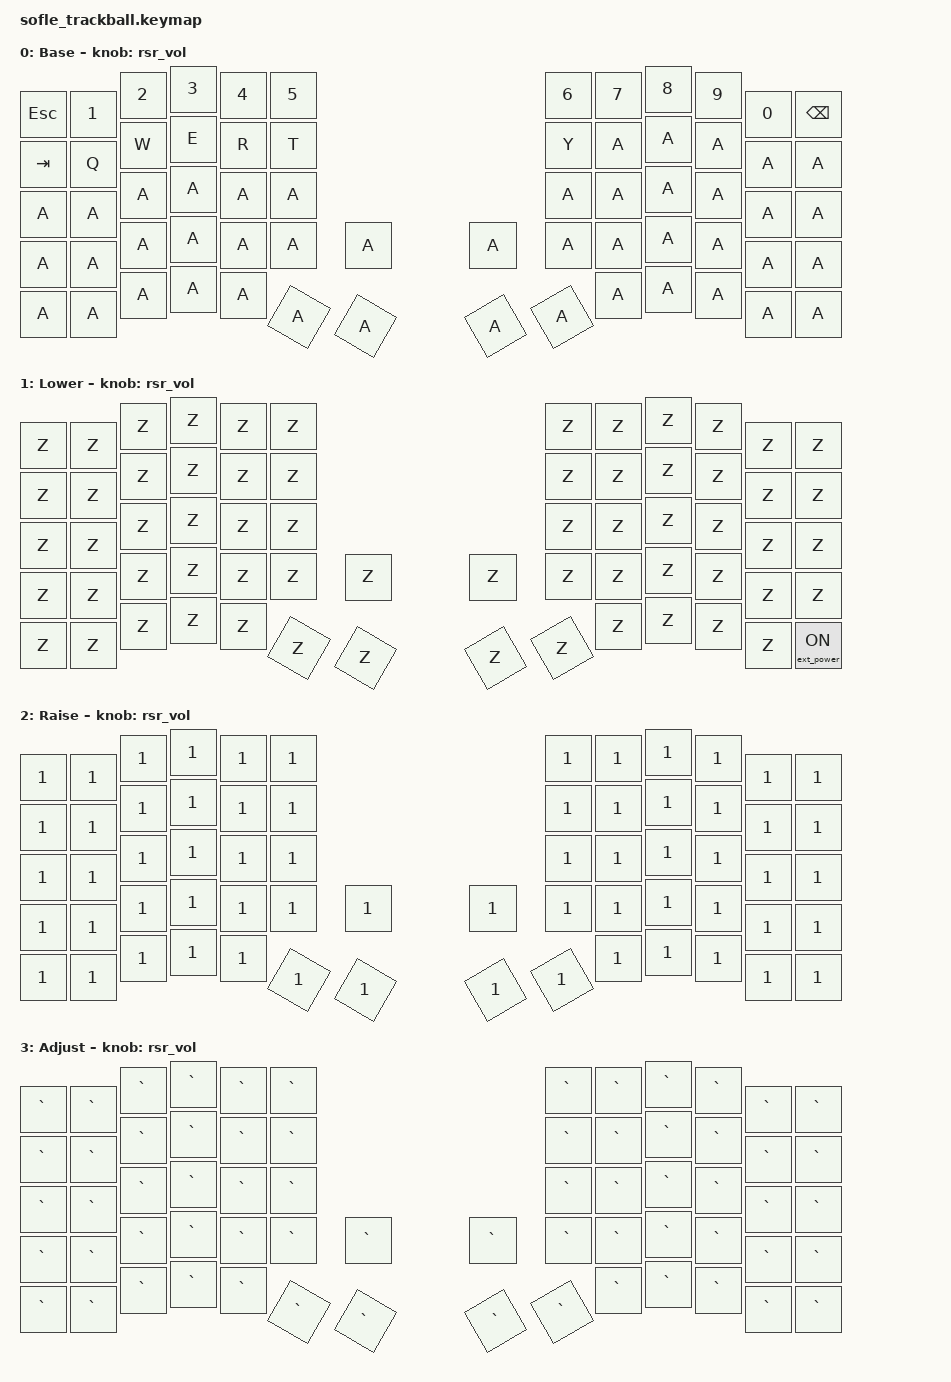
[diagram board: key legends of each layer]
#define BASE 0
#define LOWER 1
#define RAISE 2
#define ADJUST 3

#include <zephyr/dt-bindings/input/input-event-codes.h>
#include <behaviors/runtime_macro.dtsi>
#include <behaviors/runtime-sensor-rotate.dtsi>
#include <behaviors.dtsi>
#include <dt-bindings/zmk/ext_power.h>
#include <dt-bindings/zmk/keys.h>

&mmv {
    time-to-max-speed-ms = <500>;
    acceleration-exponent = <1>;
};

&msc {
    time-to-max-speed-ms = <100>;
    acceleration-exponent = <1>;
};

/ {
    behaviors {
        rsr_vol: rsr_vol {
            compatible = "zmk,behavior-runtime-sensor-rotate";
            #sensor-binding-cells = <0>;
            tap-ms = <5>;
            cw-binding = <&kp C_VOL_UP>;
            ccw-binding = <&kp C_VOL_DN>;
        };
    };
};

/ {
    combos {
        compatible = "zmk,combos";

        flash {
            bindings = <&bootloader>;
            key-positions = <0 13>;
        };
    };

    keymap {
        compatible = "zmk,keymap";

        BASE {
            display-name = "Base";
            bindings = <
&kp ESCAPE  &kp N1  &kp N2  &kp N3  &kp N4  &kp N5                &kp N6  &kp N7  &kp N8  &kp N9  &kp N0  &kp BACKSPACE
&kp TAB     &kp Q   &kp W   &kp E   &kp R   &kp T                 &kp Y   &kp A   &kp A   &kp A   &kp A   &kp A
&kp A       &kp A   &kp A   &kp A   &kp A   &kp A                 &kp A   &kp A   &kp A   &kp A   &kp A   &kp A
&kp A       &kp A   &kp A   &kp A   &kp A   &kp A   &kp A  &kp A  &kp A   &kp A   &kp A   &kp A   &kp A   &kp A
&kp A       &kp A   &kp A   &kp A   &kp A   &kp A   &kp A  &kp A  &kp A   &kp A   &kp A   &kp A   &kp A   &kp A
            >;

            sensor-bindings = <&rsr_vol>;
        };

        LOWER {
            display-name = "Lower";
            bindings = <
&kp Z  &kp Z  &kp Z  &kp Z  &kp Z  &kp Z                &kp Z  &kp Z  &kp Z  &kp Z  &kp Z  &kp Z
&kp Z  &kp Z  &kp Z  &kp Z  &kp Z  &kp Z                &kp Z  &kp Z  &kp Z  &kp Z  &kp Z  &kp Z
&kp Z  &kp Z  &kp Z  &kp Z  &kp Z  &kp Z                &kp Z  &kp Z  &kp Z  &kp Z  &kp Z  &kp Z
&kp Z  &kp Z  &kp Z  &kp Z  &kp Z  &kp Z  &kp Z  &kp Z  &kp Z  &kp Z  &kp Z  &kp Z  &kp Z  &kp Z
&kp Z  &kp Z  &kp Z  &kp Z  &kp Z  &kp Z  &kp Z  &kp Z  &kp Z  &kp Z  &kp Z  &kp Z  &kp Z  &ext_power EP_ON
            >;

            sensor-bindings = <&rsr_vol>;
        };

        RAISE {
            display-name = "Raise";
            bindings = <
&kp 1  &kp 1  &kp 1  &kp 1  &kp 1  &kp 1                &kp 1  &kp 1  &kp 1  &kp 1  &kp 1  &kp 1
&kp 1  &kp 1  &kp 1  &kp 1  &kp 1  &kp 1                &kp 1  &kp 1  &kp 1  &kp 1  &kp 1  &kp 1
&kp 1  &kp 1  &kp 1  &kp 1  &kp 1  &kp 1                &kp 1  &kp 1  &kp 1  &kp 1  &kp 1  &kp 1
&kp 1  &kp 1  &kp 1  &kp 1  &kp 1  &kp 1  &kp 1  &kp 1  &kp 1  &kp 1  &kp 1  &kp 1  &kp 1  &kp 1
&kp 1  &kp 1  &kp 1  &kp 1  &kp 1  &kp 1  &kp 1  &kp 1  &kp 1  &kp 1  &kp 1  &kp 1  &kp 1  &kp 1
            >;

            sensor-bindings = <&rsr_vol>;
        };

        ADJUST {
            display-name = "Adjust";
            bindings = <
&kp GRAVE  &kp GRAVE  &kp GRAVE  &kp GRAVE  &kp GRAVE  &kp GRAVE                        &kp GRAVE  &kp GRAVE  &kp GRAVE  &kp GRAVE  &kp GRAVE  &kp GRAVE
&kp GRAVE  &kp GRAVE  &kp GRAVE  &kp GRAVE  &kp GRAVE  &kp GRAVE                        &kp GRAVE  &kp GRAVE  &kp GRAVE  &kp GRAVE  &kp GRAVE  &kp GRAVE
&kp GRAVE  &kp GRAVE  &kp GRAVE  &kp GRAVE  &kp GRAVE  &kp GRAVE                        &kp GRAVE  &kp GRAVE  &kp GRAVE  &kp GRAVE  &kp GRAVE  &kp GRAVE
&kp GRAVE  &kp GRAVE  &kp GRAVE  &kp GRAVE  &kp GRAVE  &kp GRAVE  &kp GRAVE  &kp GRAVE  &kp GRAVE  &kp GRAVE  &kp GRAVE  &kp GRAVE  &kp GRAVE  &kp GRAVE
&kp GRAVE  &kp GRAVE  &kp GRAVE  &kp GRAVE  &kp GRAVE  &kp GRAVE  &kp GRAVE  &kp GRAVE  &kp GRAVE  &kp GRAVE  &kp GRAVE  &kp GRAVE  &kp GRAVE  &kp GRAVE
            >;

            sensor-bindings = <&rsr_vol>;
        };
    };
};
